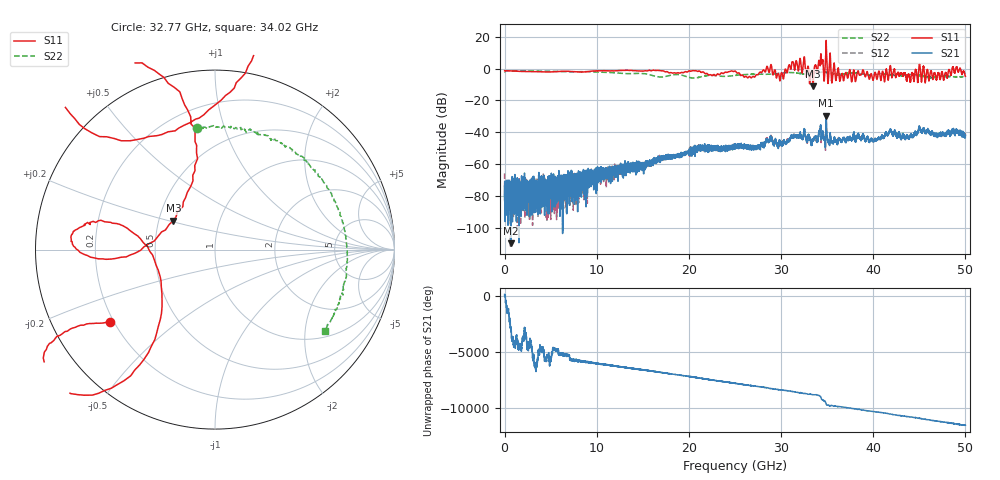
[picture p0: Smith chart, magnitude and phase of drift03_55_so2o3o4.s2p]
!Created with skrf (http://scikit-rf.org).
# Hz S RI R 50.0
!freq ReS11 ImS11 ReS21 ImS21 ReS12 ImS12 ReS22 ImS22
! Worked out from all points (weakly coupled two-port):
!   10001 points, 300 kHz to 50 GHz, reference 50 ohm
!   highest |S21| = -29.47 dB at 34.89 GHz (marker M1); lowest = -109.6 dB at 695.3 MHz (marker M2)
!   lowest |S11| = -11.0 dB at 33.47 GHz (marker M3), VSWR 1.79, Z = 29.8 + j10.5 ohm
!   |S11| at or under -10 dB: 33.44885 GHz to 33.48455 GHz (35.71 MHz wide, 0.107 % of centre)
!   |S22| runs from -5.9 to -1.3 dB; largest |S21 - S12| = 0.007
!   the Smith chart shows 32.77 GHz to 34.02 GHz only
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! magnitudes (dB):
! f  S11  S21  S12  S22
! 300 kHz  -1.3  -81.9  -65.8  -2.1
! 255.3 MHz  -1.3  -74.1  -74.0  -1.4
! 695.3 MHz  -1.4  -109.6  -78.8  -1.5
! 5.59 GHz  -1.9  -81.2  -72.9  -1.7
! 8.335 GHz  -2.2  -80.6  -70.8  -1.9
! 16.67 GHz  -1.1  -56.1  -57.7  -5.2
! 25 GHz  -1.5  -48.9  -48.4  -4.3
! 26.92 GHz  -4.9  -49.9  -48.6  -3.5
! 28.72 GHz  -2.3  -45.4  -46.0  -3.6
! 30.06 GHz  -2.5  -46.9  -47.4  -2.8
! 31.87 GHz  -1.4  -42.2  -41.9  -2.9
! 33.34 GHz  -2.2  -47.9  -47.2  -2.9
! 33.47 GHz  -11.0  -44.8  -44.6  -2.8
! 34.3 GHz  7.5  -35.7  -35.5  -2.3
! 34.89 GHz  17.6  -29.5  -31.4  -2.4
! 36.58 GHz  -3.4  -46.0  -46.0  -3.6
! 40.16 GHz  -2.7  -44.4  -44.0  -3.7
! 41.67 GHz  -5.4  -41.1  -40.5  -3.8
! 43.84 GHz  -3.9  -44.0  -43.8  -3.8
! 45.19 GHz  -5.2  -38.7  -39.8  -4.4
! 49.21 GHz  -2.0  -40.1  -40.0  -5.2
! 50 GHz  -4.8  -41.8  -42.5  -5.0
